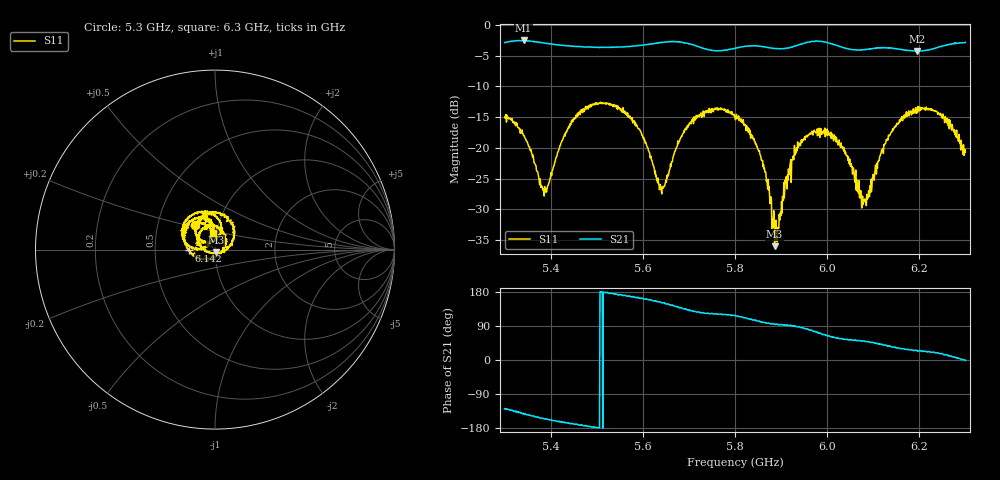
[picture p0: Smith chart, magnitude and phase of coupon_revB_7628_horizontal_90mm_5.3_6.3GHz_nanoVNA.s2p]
! NanoVNA-App
! Date: 2026-11-01 21:54:09
! Start: 5,3GHz Stop: 6,3GHz Points: 1001
! S-Parameter data: F S11 S21 S12 S22
# Hz S RI R 50
!  Frequency  S11_Real  S11_Imag  S21_Real  S21_Imag  S12_Real  S12_Imag  S22_Real  S22_Imag
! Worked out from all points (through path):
!   1001 points, 5.3 GHz to 6.3 GHz, reference 50 ohm
!   highest |S21| = -2.50 dB at 5.341 GHz (marker M1); lowest = -4.2 dB at 6.195 GHz (marker M2)
!   group delay of S21, straight-line fit = 628 ps
!   lowest |S11| = -36.0 dB at 5.886 GHz (marker M3), VSWR 1.03, Z = 50.4 - j1.53 ohm
!   |S11| at or under -10 dB: start of sweep to end of sweep
!   S12 and S22 are empty: the file has one direction only
!   S11 on the Smith chart (normalised r, x): 5.3 GHz: 0.77, +0.22; 6.142 GHz: 0.75, -0.01; 6.3 GHz: 0.96, +0.18
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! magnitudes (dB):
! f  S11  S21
! 5.3 GHz  -15.0  -2.9
! 5.341 GHz  -18.0  -2.5
! 5.388 GHz  -27.2  -2.9
! 5.428 GHz  -18.2  -3.3
! 5.467 GHz  -14.1  -3.5
! 5.562 GHz  -14.1  -3.5
! 5.597 GHz  -17.6  -3.3
! 5.634 GHz  -25.8  -2.9
! 5.646 GHz  -26.3  -2.8
! 5.711 GHz  -14.9  -3.3
! 5.8 GHz  -14.9  -3.8
! 5.855 GHz  -21.2  -3.5
! 5.886 GHz  -36.0  -3.8
! 5.931 GHz  -20.1  -3.4
! 5.967 GHz  -17.3  -2.7
! 6.031 GHz  -19.7  -3.6
! 6.08 GHz  -28.6  -4.0
! 6.134 GHz  -18.0  -3.7
! 6.142 GHz  -16.9  -3.8
! 6.195 GHz  -13.5  -4.2
! 6.246 GHz  -14.4  -3.5
! 6.3 GHz  -20.7  -2.8
